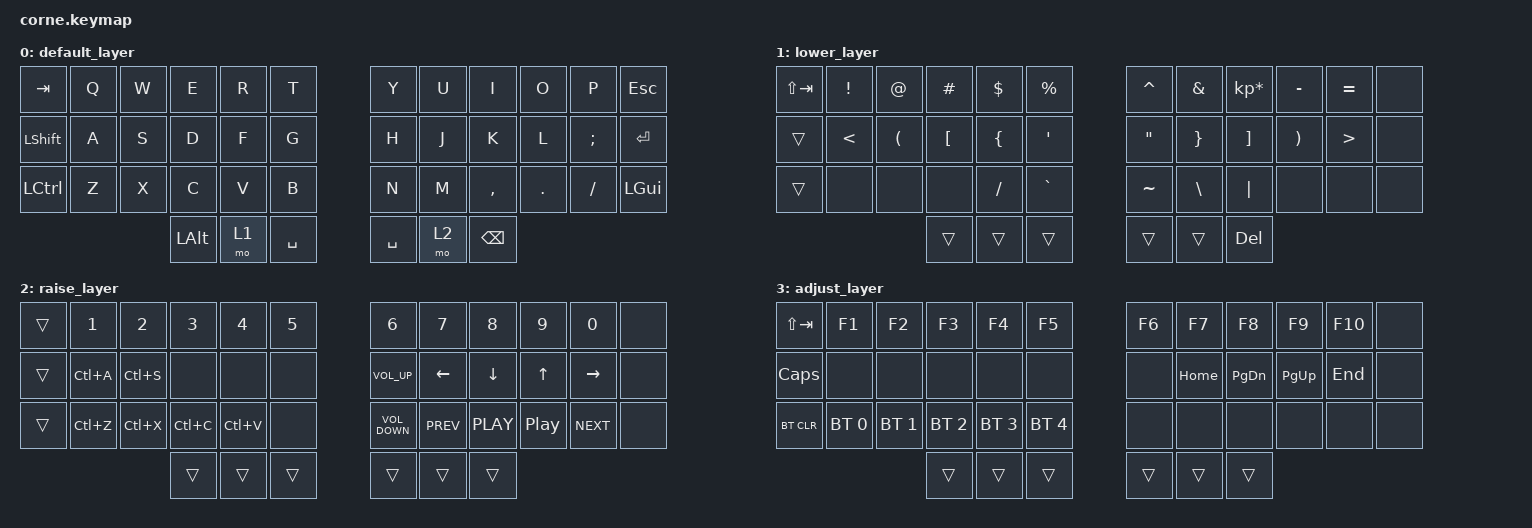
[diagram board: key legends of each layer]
/*
 * Copyright (c) 2020 The ZMK Contributors
 *
 * SPDX-License-Identifier: MIT
 */

#include <behaviors.dtsi>
#include <dt-bindings/zmk/keys.h>
#include <dt-bindings/zmk/bt.h>

/ {
        conditional_layers {
                compatible = "zmk,conditional-layers";
                adjust_layer {
                        if-layers = <1 2>;
                        then-layer = <3>;
                };
        };
        keymap {
                compatible = "zmk,keymap";

                default_layer {
                        bindings = <
   &kp TAB      &kp Q     &kp W     &kp E     &kp R   &kp T         &kp Y       &kp U     &kp I       &kp O     &kp P      &kp ESC
   &kp LSHFT    &kp A     &kp S     &kp D     &kp F   &kp G         &kp H       &kp J     &kp K       &kp L     &kp SEMI   &kp RET
   &kp LCTRL    &kp Z     &kp X     &kp C     &kp V   &kp B         &kp N       &kp M     &kp COMMA   &kp DOT   &kp FSLH   &kp LGUI
                                    &kp LALT  &mo 1   &kp SPACE     &kp SPACE   &mo 2     &kp BSPC
                        >;
                };

                lower_layer {
                        bindings = <
   &kp LS(TAB)  &kp EXCL  &kp AT     &kp HASH   &kp DLLR    &kp PRCNT      &kp CARET   &kp AMPS    &kp KP_MULTIPLY   &kp MINUS   &kp EQUAL  &none
   &trans       &kp LT    &kp LPAR   &kp LBKT   &kp LBRC    &kp SQT        &kp DQT     &kp RBRC    &kp RBKT          &kp RPAR    &kp GT    &none
   &trans       &none     &none      &none      &kp FSLH    &kp GRAVE      &kp TILDE   &kp BSLH    &kp PIPE          &none       &none     &none
                    	             &trans     &trans      &trans         &trans      &trans      &kp DEL
                        >;
                };

                raise_layer {
                         bindings = <
   &trans       &kp N1       &kp N2       &kp N3       &kp N4       &kp N5         &kp N6             &kp N7       &kp N8       &kp N9    &kp N0     &none
   &trans       &kp LC(A)    &kp LC(S)    &none        &none        &none          &kp C_VOLUME_UP    &kp LEFT     &kp DOWN     &kp UP    &kp RIGHT  &none
   &trans       &kp LC(Z)    &kp LC(X)    &kp LC(C)    &kp LC(V)    &none          &kp C_VOLUME_DOWN  &kp C_PREV   &kp C_PLAY   &kp C_PP  &kp C_NEXT &none
                          	          &trans       &trans       &trans         &trans             &trans       &trans 
                        >;
                };

                adjust_layer {
                         bindings = <
   &kp LS(TAB)  &kp F1         &kp F2         &kp F3         &kp F4         &kp F5            &kp F6     &kp F7     &kp F8       &kp F9      &kp F10  &none
   &kp CAPS     &none          &none          &none          &none          &none             &none      &kp HOME   &kp PG_DN    &kp PG_UP   &kp END  &none
   &bt BT_CLR   &bt BT_SEL 0   &bt BT_SEL 1   &bt BT_SEL 2   &bt BT_SEL 3   &bt BT_SEL 4      &none      &none      &none        &none       &none   &none
                          	              &trans         &trans         &trans            &trans     &trans     &trans 
                        >;
                };
        };
};
